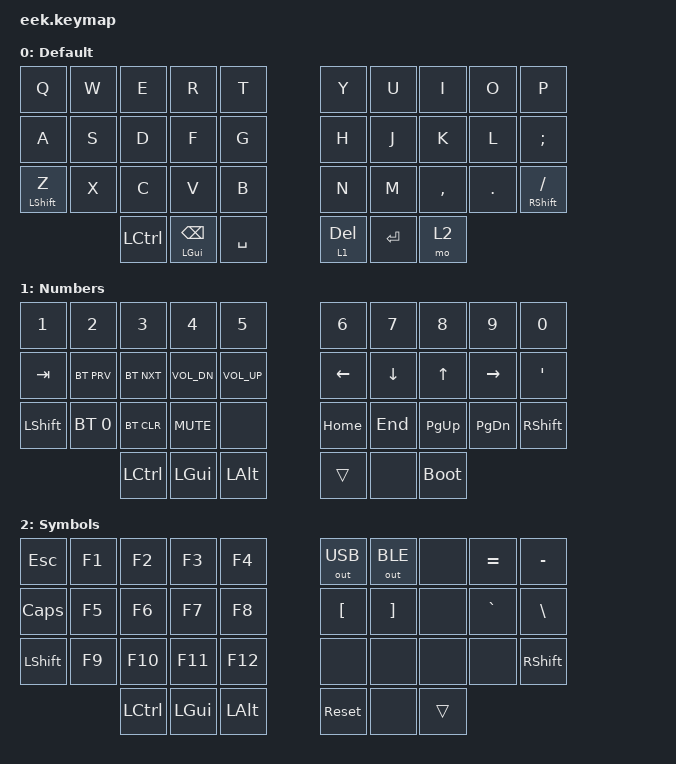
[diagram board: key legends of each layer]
/*
 * Copyright (c) 2020 The ZMK Contributors
 *
 * SPDX-License-Identifier: MIT
 */

#include <behaviors.dtsi>
#include <dt-bindings/zmk/keys.h>
#include <dt-bindings/zmk/bt.h>
#include <dt-bindings/zmk/outputs.h>

/ {
    keymap {
        compatible = "zmk,keymap";

        default {
            display-name = "Default";
            // --------------------------------------------------------------------------------------------------------------------------------------------------------------------
            //  Q    |  W  |  E  |  R  |  T  | |  Y  |  U  |  I  |    O    |  P   |
            //  A    |  S  |  D  |  F  |  G  | |  H  |  J  |  K  |    L    |  ;   |
            // Lsft/Z|  X  |  C  |  V  |  B  | |  N  |  M  |  ,  |    .    |Rsft//|
            //      | LCTL | Bspc/LMOD | SPC | | Del/Num | Ent | Sym |
            bindings = <&kp Q &kp W &kp E &kp R &kp T &kp Y &kp U &kp I &kp O &kp P
                        &kp A &kp S &kp D &kp F &kp G &kp H &kp J &kp K &kp L &kp SEMI
                        &mt LSHFT Z &kp X &kp C &kp V &kp B &kp N &kp M &kp COMMA &kp DOT &mt RSHFT FSLH
                        &kp LCTRL &mt LGUI BSPC &kp SPACE &lt 1 DEL &kp RET &mo 2>;
        };

        numbers {
            display-name = "Numbers";
            // --------------------------------------------------------------------------------------------------------------------------------------------------------------------
            //  1  |    2   |  3     |  4  |  5  | |  6  |  7  |  8  |  9  |  0  |
            // TAB | BT_PRV | BT_NXT | VOL-| VOL+| |  <  |  v  |  ∧  |  >  |  '  |
            // Lsft| BT_SEL0| BT_CLR | MUTE|     | | HOME| END | PGUP| PGDN| Rsft|
            //               | LCTL | LMOD| LALT | | Num |     | BL-reset |
            bindings = <&kp N1 &kp N2 &kp N3 &kp N4 &kp N5 &kp N6 &kp N7 &kp N8 &kp N9 &kp N0
                        &kp TAB &bt BT_PRV &bt BT_NXT &kp C_VOL_DN &kp C_VOL_UP &kp LEFT &kp DOWN &kp UP &kp RIGHT &kp
                        SQT &kp LSHFT &bt BT_SEL 0 &bt BT_CLR &kp C_MUTE &none &kp HOME &kp END &kp PG_UP &kp PG_DN &kp
                        RSHFT &kp LCTRL &kp LGUI &kp LALT &trans &none &bootloader>;
        };

        symbols {
            display-name = "Symbols";
            // --------------------------------------------------------------------------------------------------------------------------------------------------------------------
            // ESC |  F1 |  F2 |  F3 |  F4 | | OUT_USB | OUT_BLE |        |  =  |  -   |
            // CAPS|  F5 |  F6 |  F7 |  F8 | |    [    |    ]    |        |  `  |  \   |
            // LSFT|  F9 | F10 | F11 | F12 | |         |         |        |     | RSFT |
            //         | LCTL | LMOD| LALT | |  RESET  |         |   SYM  |
            bindings = <&kp ESC &kp F1 &kp F2 &kp F3 &kp F4 &out OUT_USB &out OUT_BLE &none &kp EQUAL &kp MINUS
                        &kp CAPS &kp F5 &kp F6 &kp F7 &kp F8 &kp LBKT &kp RBKT &none &kp GRAVE &kp BSLH
                        &kp LSHFT &kp F9 &kp F10 &kp F11 &kp F12 &none &none &none &none &kp RSHFT
                        &kp LCTRL &kp LGUI &kp LALT &sys_reset &none &trans>;
        };
    };
};
